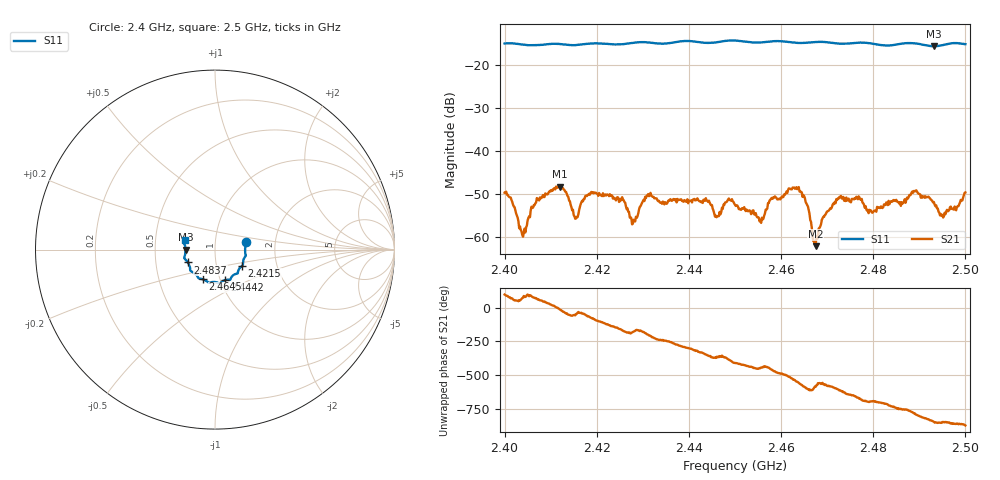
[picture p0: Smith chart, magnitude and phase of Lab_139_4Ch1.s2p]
# Hz S RI R 50
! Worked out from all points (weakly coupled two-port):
!   601 points, 2.4 GHz to 2.5 GHz, reference 50 ohm
!   highest |S21| = -48.29 dB at 2.412 GHz (marker M1); lowest = -62.1 dB at 2.4675 GHz (marker M2)
!   lowest |S11| = -15.7 dB at 2.4932 GHz (marker M3), VSWR 1.39, Z = 35.9 - j0.0504 ohm
!   |S11| at or under -10 dB: start of sweep to end of sweep
!   S12 and S22 are empty: the file has one direction only
!   S11 on the Smith chart (normalised r, x): 2.4 GHz: 1.41, +0.12; 2.4215 GHz: 1.33, -0.25; 2.4442 GHz: 1.05, -0.37; 2.4645 GHz: 0.83, -0.29; 2.4837 GHz: 0.73, -0.11; 2.5 GHz: 0.71, +0.07
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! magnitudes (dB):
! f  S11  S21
! 2.4 GHz  -15.1  -49.7
! 2.404 GHz  -15.4  -59.9
! 2.4068 GHz  -15.5  -51.9
! 2.412 GHz  -15.2  -48.3
! 2.4155 GHz  -15.4  -55.7
! 2.4167 GHz  -15.3  -51.9
! 2.4215 GHz  -15.1  -50.5
! 2.4278 GHz  -15.0  -56.9
! 2.4333 GHz  -15.1  -51.7
! 2.4442 GHz  -15.0  -51.8
! 2.45 GHz  -14.4  -52.5
! 2.4557 GHz  -14.8  -56.7
! 2.4582 GHz  -14.6  -51.1
! 2.4645 GHz  -15.0  -49.6
! 2.4667 GHz  -14.8  -57.9
! 2.4675 GHz  -14.7  -62.1
! 2.4725 GHz  -15.1  -51.1
! 2.4833 GHz  -15.6  -51.6
! 2.4837 GHz  -15.5  -51.9
! 2.4932 GHz  -15.7  -51.9
! 2.4952 GHz  -15.4  -55.5
! 2.5 GHz  -15.3  -49.7
